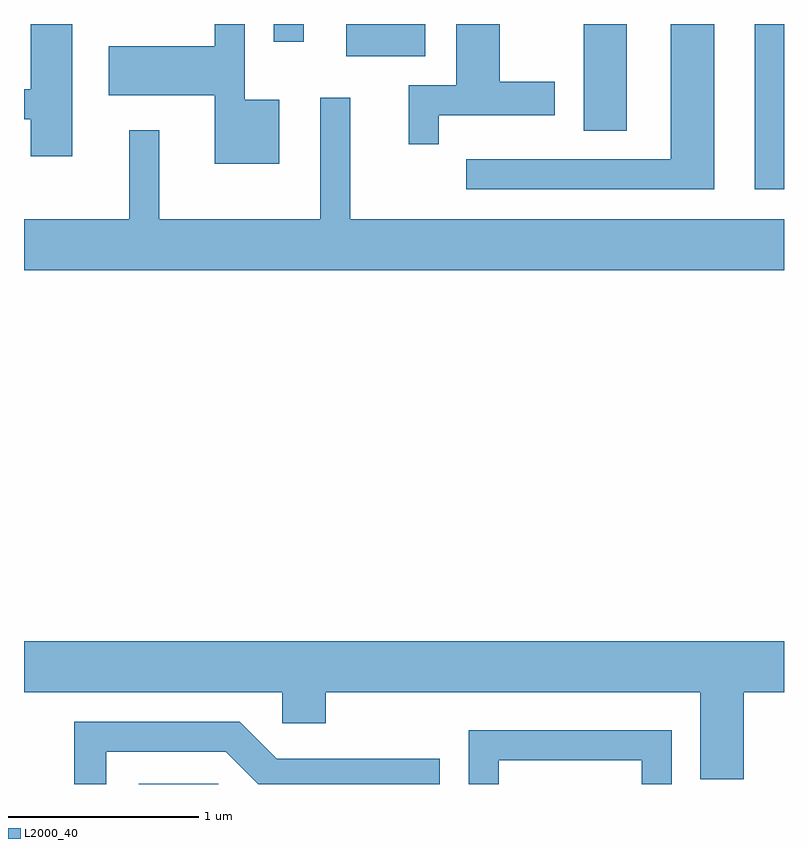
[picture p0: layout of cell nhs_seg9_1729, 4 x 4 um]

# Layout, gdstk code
import gdstk
lib = gdstk.Library(unit=1e-6, precision=1e-09)
def R(c, l, rs):  # rectangles x0, y0, x1, y1
    for r in rs: c.add(gdstk.rectangle(r[:2], r[2:], *l))
def P(c, l, *ps):  # polygons
    for p in ps: c.add(gdstk.Polygon(p, *l))
L2000_40 = (2000, 40)

nhs_seg9_1729 = lib.new_cell('nhs_seg9_1729')
R(nhs_seg9_1729, L2000_40, [(236.216,2002.432,236.633,2002.434), (239.456,2005.561,239.611,2006.432), (238.556,2005.871,238.784,2006.432), (237.306,2006.261,237.724,2006.432), (236.926,2006.338,237.084,2006.432)])
P(nhs_seg9_1729, L2000_40, [(239.244,2006.432),(239.016,2006.432),(239.016,2005.719),(237.938,2005.719),(237.938,2005.561),(239.244,2005.561)],
  [(237.794,2005.951),(238.404,2005.951),(238.404,2006.129),(238.114,2006.129),(238.114,2006.432),(237.886,2006.432),(237.886,2006.109),(237.636,2006.109),(237.636,2005.798),(237.794,2005.798)],
  [(236.954,2006.034),(236.774,2006.034),(236.774,2006.432),(236.616,2006.432),(236.616,2006.314),(236.056,2006.314),(236.056,2006.056),(236.616,2006.056),(236.616,2005.696),(236.954,2005.696)],
  [(235.864,2006.432),(235.646,2006.432),(235.646,2006.089),(235.611,2006.089),(235.611,2005.931),(235.646,2005.931),(235.646,2005.736),(235.864,2005.736)],
  [(239.611,2005.404),(237.329,2005.404),(237.329,2006.043),(237.171,2006.043),(237.171,2005.404),(236.324,2005.404),(236.324,2005.873),(236.166,2005.873),(236.166,2005.404),(235.611,2005.404),(235.611,2005.136),(239.611,2005.136)],
  [(239.399,2002.916),(239.611,2002.916),(239.611,2003.184),(235.611,2003.184),(235.611,2002.916),(236.971,2002.916),(236.971,2002.751),(237.199,2002.751),(237.199,2002.916),(239.171,2002.916),(239.171,2002.456),(239.399,2002.456)],
  [(236.044,2002.601),(236.674,2002.601),(236.843,2002.432),(237.799,2002.432),(237.799,2002.564),(236.942,2002.564),(236.747,2002.759),(235.876,2002.759),(235.876,2002.432),(236.044,2002.432)],
  [(238.109,2002.556),(238.861,2002.556),(238.861,2002.432),(239.019,2002.432),(239.019,2002.714),(237.951,2002.714),(237.951,2002.432),(238.109,2002.432)])

lib.write_gds('nhs_seg9_1729.gds')
